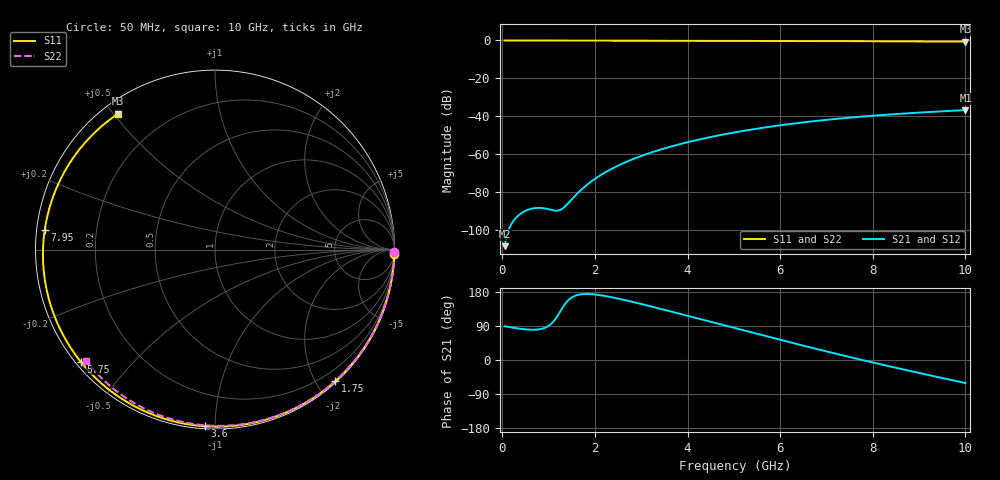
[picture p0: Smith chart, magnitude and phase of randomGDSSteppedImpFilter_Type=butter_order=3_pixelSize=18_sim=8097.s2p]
! freq	dB(S11)	phase(S11)	dB(S12)	phase(S12)
!  dB(S21)	phase(S21)	dB(S22)	phase(S22)
!S-par simulation data
#  GHz  S  DB  R 50
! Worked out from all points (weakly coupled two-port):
!   200 points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, 50 MHz to 10 GHz, reference 50 ohm
!   highest |S21| = -36.77 dB at 10 GHz (marker M1); lowest = -108.6 dB at 50 MHz (marker M2)
!   lowest |S11| = -0.6 dB at 10 GHz (marker M3), VSWR 27.43, Z = 2.31 + j25.7 ohm
!   |S11| at or under -10 dB: nowhere
!   |S22| runs from -0.5 to 0.0 dB; largest |S21 - S12| = 0
!   S11 on the Smith chart (normalised r, x): 50 MHz: 0, -82; 1.75 GHz: 0.02, -2.27; 3.6 GHz: 0.01, -0.95; 5.75 GHz: 0.01, -0.36; 7.95 GHz: 0.02, +0.06; 10 GHz: 0.05, +0.51
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0.05  -0.00 -1.4  -108.59 89.1  -108.59 89.1  -0.00 -0.8
0.4  -0.02 -11.1  -91.38 82.2  -91.38 82.2  -0.01 -6.4
0.8  -0.03 -22.1  -88.39 80.9  -88.39 80.9  -0.02 -12.8
1.2  -0.04 -33.0  -89.83 117.9  -89.83 117.9  -0.02 -19.1
1.65  -0.06 -45.0  -80.06 172.3  -80.06 172.3  -0.03 -26.2
1.75  -0.06 -47.6  -77.81 174.0  -77.81 174.0  -0.04 -27.8
2.05  -0.07 -55.3  -72.24 172.2  -72.24 172.2  -0.04 -32.4
2.45  -0.08 -65.5  -66.68 163.5  -66.68 163.5  -0.05 -38.6
2.9  -0.10 -76.6  -61.89 150.8  -61.89 150.8  -0.06 -45.4
3.4  -0.11 -88.5  -57.72 135.6  -57.72 135.6  -0.07 -52.8
3.6  -0.12 -93.2  -56.29 129.3  -56.29 129.3  -0.08 -55.7
4.3  -0.15 -109.0  -52.02 107.0  -52.02 107.0  -0.09 -65.8
5.05  -0.18 -125.4  -48.40 83.1  -48.40 83.1  -0.12 -76.3
5.75  -0.22 -140.2  -45.65 61.0  -45.65 61.0  -0.14 -85.9
6.25  -0.26 -150.6  -43.99 45.5  -43.99 45.5  -0.17 -92.5
6.7  -0.29 -160.0  -42.69 31.7  -42.69 31.7  -0.19 -98.3
7.35  -0.34 -173.6  -41.08 12.2  -41.08 12.2  -0.23 -106.6
7.95  -0.40 173.5  -39.84 -5.1  -39.84 -5.1  -0.27 -114.1
8.35  -0.44 164.7  -39.11 -16.4  -39.11 -16.4  -0.31 -119.1
9.15  -0.53 146.4  -37.87 -38.2  -37.87 -38.2  -0.38 -128.9
9.55  -0.58 136.7  -37.33 -48.9  -37.33 -48.9  -0.42 -133.8
10  -0.63 125.4  -36.77 -60.8  -36.77 -60.8  -0.47 -139.2
